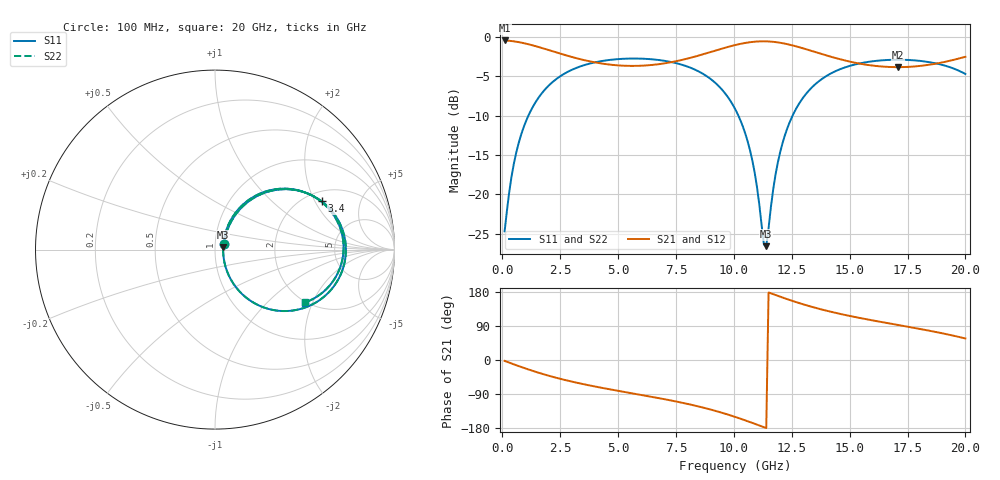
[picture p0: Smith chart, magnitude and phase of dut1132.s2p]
! Touchstone file exported from HFSS 2026.1.0
!  File:  C:/ffzhzh/LocalFiles/Ansys_Project_Files/temp_train_TSV_RDL_1132_1783307911_30076.aedt
!  Generated:  11:33:10 AM Jul  6, 2026
!  Design:  TSV_RDL
!  Project:  temp_train_TSV_RDL_1132_1783307911_30076
! Variables:
!  h_bsmrdl = 2.68um
!  h_ox = 20um
!  h_rdl = 5um
!  h_sub = 68.53um
!  h_tmrdl = 3.24um
!  h_tsv = 68.53um
!  h_via = 3um
!  l_bsmrdl = 770.27um
!  l_sub = 5469.84um
!  l_tmrdl = 671.33um
!  m_sub = 200um
!  pitch = 57.72um
!  r_tsv = 4.05um
!  s_tmrdl = 10um
!  w_bsmrdl = 13.06um
!  w_sub = 500um
!  w_tmrdl = 11.51um
!  x_tsv_center1 = 677.085um
!  x_tsv_center2 = 1460.415um
!  x_tsv_center3 = 2143.255um
!  x_tsv_center4 = 2926.585um
!  x_tsv_center5 = 3609.425um
!  x_tsv_center6 = 4392.755um
# GHz S MA R 50.000000
! Terminal data exported
! Port[1] = TM_RDL1_1_T1
! Port[2] = TM_RDL5_1_T1
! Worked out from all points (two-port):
!   200 points, 100 MHz to 20 GHz, reference 50 ohm
!   highest |S21| = -0.45 dB at 100 MHz (marker M1); lowest = -3.8 dB at 17.1 GHz (marker M2)
!   |S21| within 3 dB of the highest: start of sweep to 4.457 GHz; 6.795 GHz to 15.54 GHz (8.749 GHz wide, 78.3 % of centre) (the widest 2 of 3)
!   lowest |S11| = -26.6 dB at 11.4 GHz (marker M3), VSWR 1.10, Z = 54.7 + j1.29 ohm
!   |S11| at or under -10 dB: start of sweep to 1.128 GHz; 10.2 GHz to 12.54 GHz (2.342 GHz wide, 20.6 % of centre)
!   |S22| runs from -26.6 to -2.7 dB; largest |S21 - S12| = 1.6e-14
!   S11 on the Smith chart (normalised r, x): 100 MHz: 1.11, +0.06; 3.4 GHz: 2.42, +2.27; 20 GHz: 1.97, -1.76
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0.1  0.05822 29.2  0.9499 -2.3  0.9499 -2.3  0.05822 29.2
! Gamma 0 0 0 0
! Port Impedance 50 0 50 0
0.5  0.1568 59.5  0.9378 -11.5  0.9378 -11.5  0.1568 59.5
1.1  0.3099 56.1  0.9009 -24.4  0.9009 -24.4  0.3099 56.1
2.1  0.5061 41.7  0.8173 -43.1  0.8173 -43.1  0.506 41.7
3.4  0.6522 24.4  0.7203 -62.4  0.7203 -62.4  0.6522 24.4
3.5  0.6595 23.2  0.7145 -63.7  0.7145 -63.7  0.6595 23.2
5.1  0.7249 5.7  0.6581 -82.4  0.6581 -82.4  0.7249 5.7
6.8  0.7123 -11.8  0.6726 -101.1  0.6726 -101.1  0.7123 -11.8
8.8  0.5669 -36.3  0.7861 -127.5  0.7861 -127.5  0.5669 -36.3
10.1  0.3385 -55.8  0.8913 -151.0  0.8913 -151.0  0.3385 -55.8
10.8  0.1637 -62.0  0.9299 -166.0  0.9299 -166.0  0.1638 -61.9
11.3  0.04793 -18.4  0.9381 -177.3  0.9381 -177.3  0.048 -18.4
11.4  0.04687 14.5  0.9375 -179.5  0.9375 -179.5  0.04694 14.5
11.7  0.1076 57.6  0.9311 173.7  0.9311 173.7  0.1076 57.6
12.1  0.2109 61.6  0.913 164.9  0.913 164.9  0.2109 61.6
12.7  0.3523 54.7  0.8708 152.6  0.8708 152.6  0.3523 54.7
13.4  0.4827 44.3  0.8119 139.7  0.8119 139.7  0.4827 44.3
15  0.6545 23.4  0.6975 116.3  0.6975 116.3  0.6545 23.4
16.7  0.7148 5.4  0.6447 96.7  0.6447 96.7  0.7147 5.4
17.1  0.7168 1.4  0.6429 92.3  0.6429 92.3  0.7167 1.4
18.6  0.685 -14.0  0.6717 75.4  0.6717 75.4  0.685 -14.0
20  0.5817 -30.4  0.7482 56.8  0.7482 56.8  0.5817 -30.4
